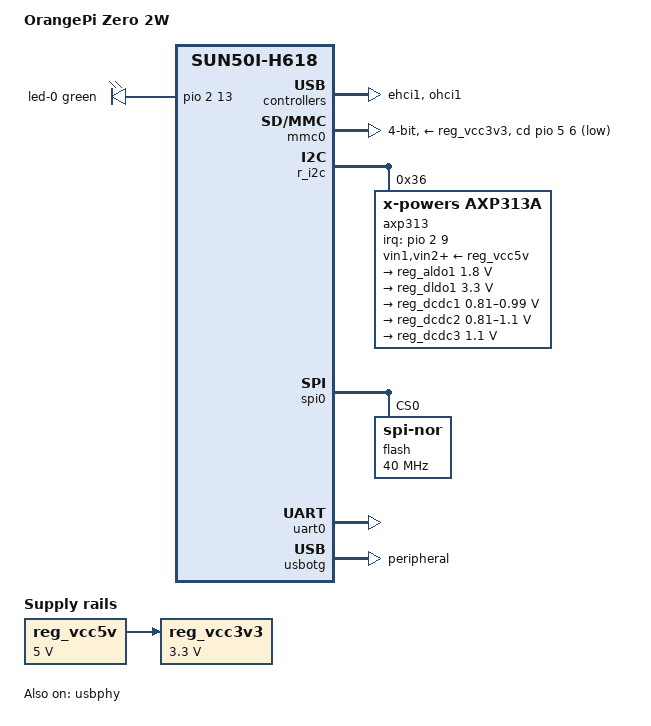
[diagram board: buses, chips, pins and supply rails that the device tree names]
// SPDX-License-Identifier: (GPL-2.0+ OR MIT)
/*
 * Copyright (C) 2023 Arm Ltd.
 */

/dts-v1/;

#include "sun50i-h616.dtsi"
#include "sun50i-h616-cpu-opp.dtsi"

#include <dt-bindings/gpio/gpio.h>
#include <dt-bindings/interrupt-controller/arm-gic.h>
#include <dt-bindings/leds/common.h>

/ {
	model = "OrangePi Zero 2W";
	compatible = "xunlong,orangepi-zero2w", "allwinner,sun50i-h618";

	aliases {
		serial0 = &uart0;
	};

	chosen {
		stdout-path = "serial0:115200n8";
	};

	leds {
		compatible = "gpio-leds";

		led-0 {
			function = LED_FUNCTION_STATUS;
			color = <LED_COLOR_ID_GREEN>;
			gpios = <&pio 2 13 GPIO_ACTIVE_HIGH>; /* PC13 */
		};
	};

	reg_vcc5v: vcc5v {
		/* board wide 5V supply directly from the USB-C socket */
		compatible = "regulator-fixed";
		regulator-name = "vcc-5v";
		regulator-min-microvolt = <5000000>;
		regulator-max-microvolt = <5000000>;
		regulator-always-on;
	};

	reg_vcc3v3: vcc3v3 {
		/* SY8089 DC/DC converter */
		compatible = "regulator-fixed";
		regulator-name = "vcc-3v3";
		regulator-min-microvolt = <3300000>;
		regulator-max-microvolt = <3300000>;
		vin-supply = <&reg_vcc5v>;
		regulator-always-on;
	};
};

&cpu0 {
	cpu-supply = <&reg_dcdc2>;
};

&ehci1 {
	status = "okay";
};

/* USB 2 & 3 are on the FPC connector (or the exansion board) */

&mmc0 {
	cd-gpios = <&pio 5 6 GPIO_ACTIVE_LOW>;	/* PF6 */
	bus-width = <4>;
	vmmc-supply = <&reg_vcc3v3>;
	status = "okay";
};

&ohci1 {
	status = "okay";
};

&pio {
	vcc-pc-supply = <&reg_dldo1>;
	vcc-pf-supply = <&reg_dldo1>;	/* internally via VCC-IO */
	vcc-pg-supply = <&reg_aldo1>;
	vcc-ph-supply = <&reg_dldo1>;	/* internally via VCC-IO */
	vcc-pi-supply = <&reg_dldo1>;
};

&r_i2c {
	status = "okay";

	axp313: pmic@36 {
		compatible = "x-powers,axp313a";
		reg = <0x36>;
		#interrupt-cells = <1>;
		interrupt-controller;
		interrupt-parent = <&pio>;
		interrupts = <2 9 IRQ_TYPE_LEVEL_LOW>;	/* PC9 */

		vin1-supply = <&reg_vcc5v>;
		vin2-supply = <&reg_vcc5v>;
		vin3-supply = <&reg_vcc5v>;

		regulators {
			/* Supplies VCC-PLL and DRAM */
			reg_aldo1: aldo1 {
				regulator-always-on;
				regulator-min-microvolt = <1800000>;
				regulator-max-microvolt = <1800000>;
				regulator-name = "vcc1v8";
			};

			/* Supplies VCC-IO, so needs to be always on. */
			reg_dldo1: dldo1 {
				regulator-always-on;
				regulator-min-microvolt = <3300000>;
				regulator-max-microvolt = <3300000>;
				regulator-name = "vcc3v3";
			};

			reg_dcdc1: dcdc1 {
				regulator-always-on;
				regulator-min-microvolt = <810000>;
				regulator-max-microvolt = <990000>;
				regulator-name = "vdd-gpu-sys";
			};

			reg_dcdc2: dcdc2 {
				regulator-always-on;
				regulator-min-microvolt = <810000>;
				regulator-max-microvolt = <1100000>;
				regulator-name = "vdd-cpu";
			};

			reg_dcdc3: dcdc3 {
				regulator-always-on;
				regulator-min-microvolt = <1100000>;
				regulator-max-microvolt = <1100000>;
				regulator-name = "vdd-dram";
			};
		};
	};
};

&spi0  {
	status = "okay";
	pinctrl-names = "default";
	pinctrl-0 = <&spi0_pins>, <&spi0_cs0_pin>;

	flash@0 {
		#address-cells = <1>;
		#size-cells = <1>;
		compatible = "jedec,spi-nor";
		reg = <0>;
		spi-max-frequency = <40000000>;
	};
};

&uart0 {
	pinctrl-names = "default";
	pinctrl-0 = <&uart0_ph_pins>;
	status = "okay";
};

&usbotg {
	/*
	 * PHY0 pins are connected to a USB-C socket, but a role switch
	 * is not implemented: both CC pins are pulled to GND.
	 * The VBUS pins power the device, so a fixed peripheral mode
	 * is the best choice.
	 * The board can be powered via GPIOs, in this case port0 *can*
	 * act as a host (with a cable/adapter ignoring CC), as VBUS is
	 * then provided by the GPIOs. Any user of this setup would
	 * need to adjust the DT accordingly: dr_mode set to "host",
	 * enabling OHCI0 and EHCI0.
	 */
	dr_mode = "peripheral";
	status = "okay";
};

&usbphy {
	usb1_vbus-supply = <&reg_vcc5v>;
	status = "okay";
};
